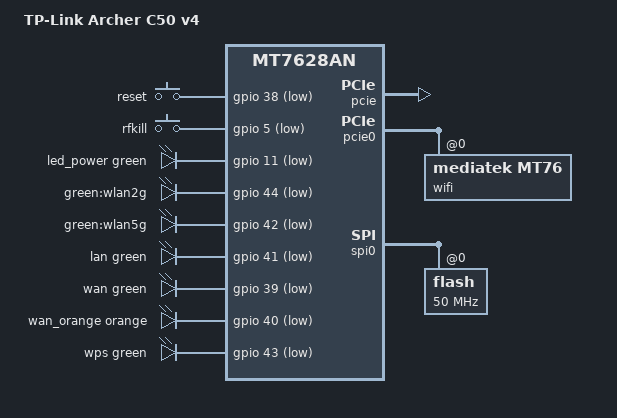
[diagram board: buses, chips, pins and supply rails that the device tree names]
// SPDX-License-Identifier: GPL-2.0-or-later OR MIT

#include <dt-bindings/leds/common.h>

#include "mt7628an_tplink_8m-split-uboot.dtsi"

/ {
	compatible = "tplink,archer-c50-v4", "mediatek,mt7628an-soc";
	model = "TP-Link Archer C50 v4";

	aliases {
		led-boot = &led_power;
		led-failsafe = &led_power;
		led-running = &led_power;
		led-upgrade = &led_power;
	};

	keys {
		compatible = "gpio-keys";

		reset {
			label = "reset";
			gpios = <&gpio 38 GPIO_ACTIVE_LOW>;
			linux,code = <KEY_RESTART>;
		};

		rfkill {
			label = "rfkill";
			gpios = <&gpio 5 GPIO_ACTIVE_LOW>;
			linux,code = <KEY_RFKILL>;
		};
	};

	leds {
		compatible = "gpio-leds";

		led_power: power {
			function = LED_FUNCTION_POWER;
			color = <LED_COLOR_ID_GREEN>;
			gpios = <&gpio 11 GPIO_ACTIVE_LOW>;
		};

		wlan2 {
			label = "green:wlan2g";
			gpios = <&gpio 44 GPIO_ACTIVE_LOW>;
		};

		wlan5 {
			label = "green:wlan5g";
			gpios = <&gpio 42 GPIO_ACTIVE_LOW>;
		};

		lan {
			function = LED_FUNCTION_LAN;
			color = <LED_COLOR_ID_GREEN>;
			gpios = <&gpio 41 GPIO_ACTIVE_LOW>;
		};

		wan {
			function = LED_FUNCTION_WAN;
			color = <LED_COLOR_ID_GREEN>;
			gpios = <&gpio 39 GPIO_ACTIVE_LOW>;
		};

		wan_orange {
			function = LED_FUNCTION_WAN;
			color = <LED_COLOR_ID_ORANGE>;
			gpios = <&gpio 40 GPIO_ACTIVE_LOW>;
		};

		wps {
			function = LED_FUNCTION_WPS;
			color = <LED_COLOR_ID_GREEN>;
			gpios = <&gpio 43 GPIO_ACTIVE_LOW>;
		};
	};
};

&ehci {
	status = "disabled";
};

&ohci {
	status = "disabled";
};

&state_default {
	gpio {
		groups = "i2c", "p0led_an", "p1led_an", "p2led_an",
				   "p3led_an", "p4led_an", "wdt", "wled_an";
		function = "gpio";
	};
};

&pcie {
	status = "okay";
};

&pcie0 {
	wifi@0,0 {
		compatible = "mediatek,mt76";
		reg = <0x0000 0 0 0 0>;
		ieee80211-freq-limit = <5000000 6000000>;
		nvmem-cells = <&eeprom_radio_8000>, <&macaddr_rom_f100 (-1)>;
		nvmem-cell-names = "eeprom", "mac-address";
	};
};

&spi0 {
	flash@0 {
		/*
		 * The controller divides its bus clock of 193.3 MHz by a whole number of at least 2
		 * and samples the data half a period after the flash drives it.
		 *
		 * 48.3 MHz (divided by 4) for any chip, instead of 10 MHz: within the 50 MHz that
		 * the Winbond W25Q64 and cFeon EN25QH64A of some units allow for plain reads, and
		 * half a period (10.35 ns) is longer than any of the known chips needs to drive
		 * its data (6-8 ns).
		 *
		 * 64.4 MHz (divided by 3) for any chip whose reads at it equal one at 48.3 MHz at
		 * boot (patch 951 of ramips); the GigaDevice GD25Q64 of the test unit passes. 96.7 MHz
		 * (divided by 2) reads it wrong even with Fast Read.
		 */
		spi-max-frequency = <50000000>;
		openwrt,fast-frequencies = <65000000>;
	};
};
